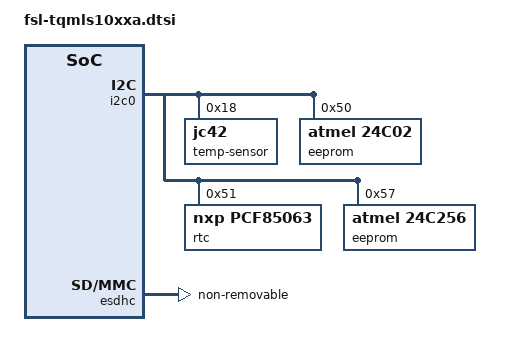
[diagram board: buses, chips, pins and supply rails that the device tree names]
// SPDX-License-Identifier: (GPL-2.0+ OR MIT)
/*
 * Device Tree Include file for TQMLs10xxA SoM of TQ
 *
 * Copyright 2018 TQ-Systems GmbH
 */

&i2c0 {
	status = "okay";

	temp-sensor@18 {
		compatible = "jc42";
		reg = <0x18>;
	};

	eeprom@50 {
		compatible = "atmel,24c02";
		reg = <0x50>;
	};

	rtc@51 {
		compatible = "nxp,pcf85063";
		reg = <0x51>;
	};

	eeprom@57 {
		compatible = "atmel,24c256";
		reg = <0x57>;
	};
};

&esdhc {
	non-removable;
	disable-wp;
	mmc-hs200-1_8v;
	sd-uhs-sdr104;
	sd-uhs-sdr50;
	sd-uhs-sdr25;
	sd-uhs-sdr12;
};

